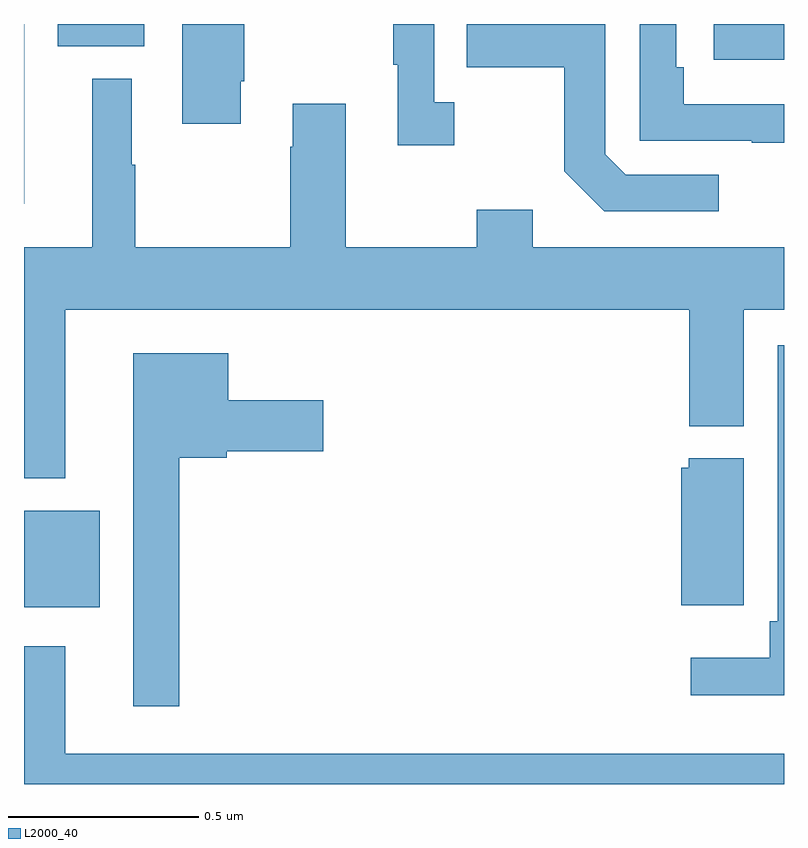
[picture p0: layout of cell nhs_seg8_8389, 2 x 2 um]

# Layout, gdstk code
import gdstk
lib = gdstk.Library(unit=1e-6, precision=1e-09)
def R(c, l, rs):  # rectangles x0, y0, x1, y1
    for r in rs: c.add(gdstk.rectangle(r[:2], r[2:], *l))
def P(c, l, *ps):  # polygons
    for p in ps: c.add(gdstk.Polygon(p, *l))
L2000_40 = (2000, 40)

nhs_seg8_8389 = lib.new_cell('nhs_seg8_8389')
R(nhs_seg8_8389, L2000_40, [(222,1134.365,222.199,1134.619), (222,1135.427,222.001,1135.9), (223.815,1135.806,224,1135.9), (222.089,1135.841,222.316,1135.9)])
P(nhs_seg8_8389, L2000_40, [(224,1135.689),(223.736,1135.689),(223.736,1135.786),(223.716,1135.786),(223.716,1135.9),(223.62,1135.9),(223.62,1135.593),(223.915,1135.593),(223.915,1135.588),(224,1135.588)],
  [(223.828,1135.503),(223.584,1135.503),(223.53,1135.557),(223.53,1135.9),(223.165,1135.9),(223.165,1135.786),(223.422,1135.786),(223.422,1135.513),(223.527,1135.407),(223.828,1135.407)],
  [(223.132,1135.694),(223.08,1135.694),(223.08,1135.9),(222.972,1135.9),(222.972,1135.793),(222.983,1135.793),(222.983,1135.581),(223.132,1135.581)],
  [(222.571,1135.75),(222.579,1135.75),(222.579,1135.9),(222.416,1135.9),(222.416,1135.638),(222.571,1135.638)],
  [(222.109,1135.148),(223.751,1135.148),(223.751,1134.842),(223.894,1134.842),(223.894,1135.148),(224,1135.148),(224,1135.312),(223.339,1135.312),(223.339,1135.411),(223.192,1135.411),(223.192,1135.312),(222.847,1135.312),(222.847,1135.69),(222.707,1135.69),(222.707,1135.577),(222.7,1135.577),(222.7,1135.312),(222.293,1135.312),(222.293,1135.529),(222.283,1135.529),(222.283,1135.756),(222.179,1135.756),(222.179,1135.312),(222,1135.312),(222,1134.704),(222.109,1134.704)],
  [(224,1135.054),(223.983,1135.054),(223.983,1134.328),(223.963,1134.328),(223.963,1134.232),(223.755,1134.232),(223.755,1134.134),(224,1134.134)],
  [(222.409,1134.758),(222.534,1134.758),(222.534,1134.776),(222.787,1134.776),(222.787,1134.91),(222.538,1134.91),(222.538,1135.033),(222.287,1135.033),(222.287,1134.105),(222.409,1134.105)],
  [(223.894,1134.757),(223.749,1134.757),(223.749,1134.732),(223.73,1134.732),(223.73,1134.371),(223.894,1134.371)],
  [(224,1133.98),(222.109,1133.98),(222.109,1134.262),(222,1134.262),(222,1133.9),(224,1133.9)])

lib.write_gds('nhs_seg8_8389.gds')
